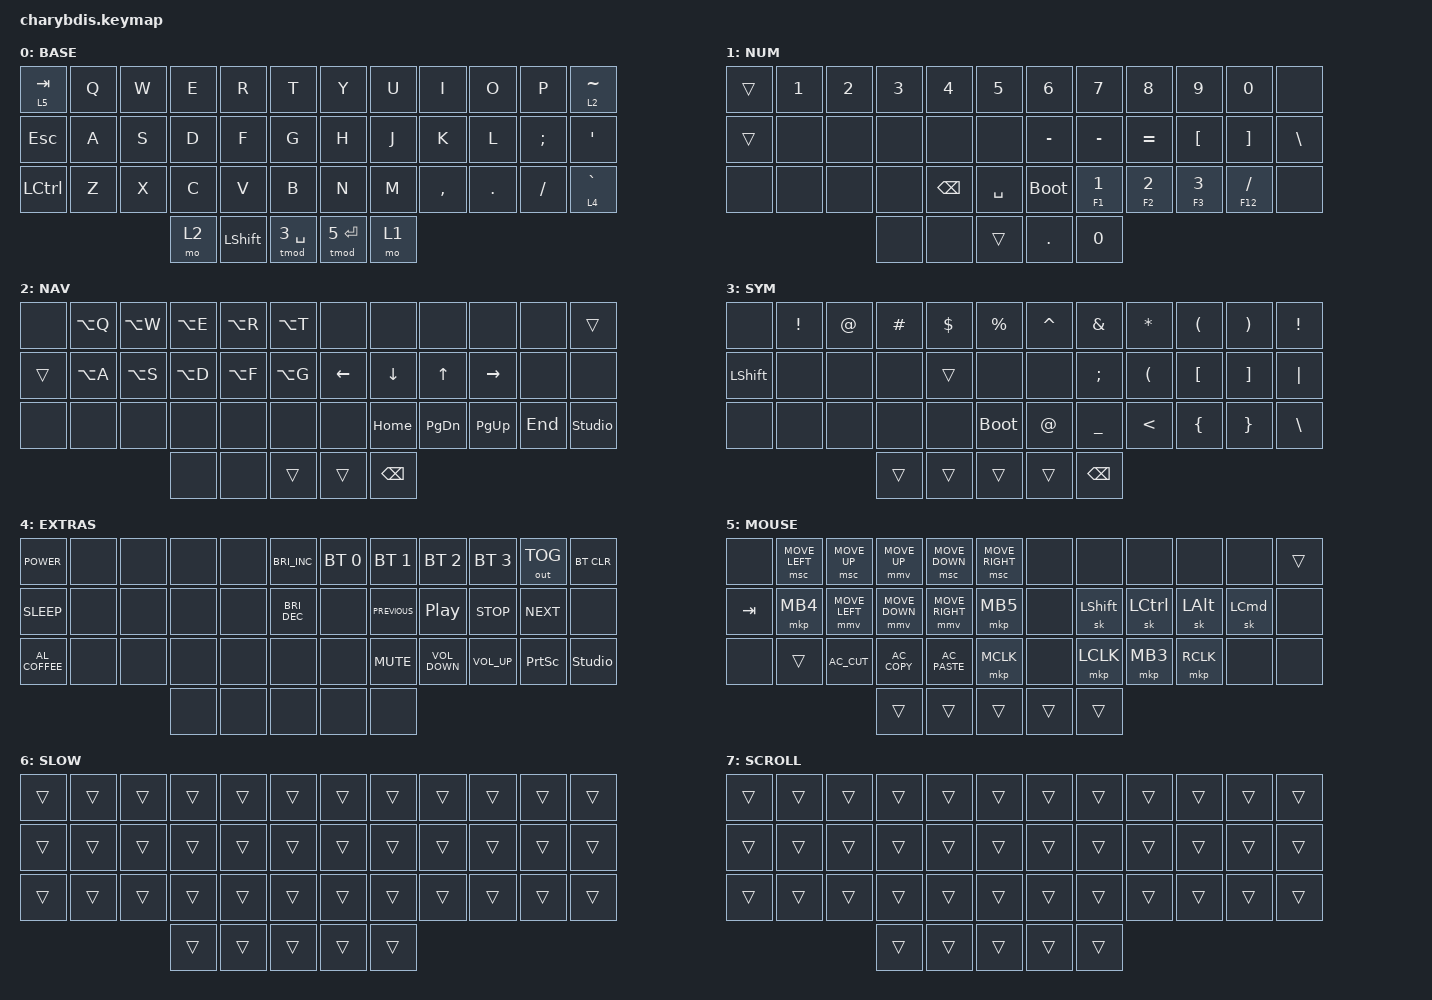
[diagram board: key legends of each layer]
#include <behaviors.dtsi>
#include <dt-bindings/zmk/bt.h>
#include <dt-bindings/zmk/keys.h>
#include <dt-bindings/zmk/mouse.h>
#include <dt-bindings/zmk/outputs.h>
#include <behaviors/mouse_keys.dtsi>
#include <dt-bindings/zmk/ext_power.h>
#include "macros.dtsi"
#include "behaviors.dtsi"
#include "combos.dtsi"

/ {
    /* input config for mouse move mode */

    trackball_listener {
        compatible = "zmk,input-behavior-listener";
        device = <&vtrackball>;
        layers = <0 2 5>;
        evt-type = <INPUT_EV_REL>;
        x-input-code = <INPUT_REL_X>;
        y-input-code = <INPUT_REL_Y>;
        scale-multiplier = <4>;
        scale-divisor = <5>;

        // bindings = <&ib_toggle_layer 7>;
    };

    /* input config for snipe mode */

    trackball_snipe_listener {
        compatible = "zmk,input-behavior-listener";
        device = <&vtrackball>;
        layers = <6>;
        evt-type = <INPUT_EV_REL>;
        x-input-code = <INPUT_REL_X>;
        y-input-code = <INPUT_REL_Y>;
        scale-multiplier = <1>;
        scale-divisor = <6>;
    };

    /* input config for mouse scroll mode */

    trackball_scroll_listener {
        compatible = "zmk,input-behavior-listener";
        device = <&vtrackball>;
        layers = <7>;
        evt-type = <INPUT_EV_REL>;
        x-input-code = <INPUT_REL_MISC>;
        y-input-code = <INPUT_REL_WHEEL>;
        y-invert;
        bindings = <&ib_wheel_scaler 1 14>;
    };

    /* define a resolution down scaler only for INPUT_REL_WHEEL */

    ib_wheel_scaler: ib_wheel_scaler {
        compatible = "zmk,input-behavior-scaler";
        #binding-cells = <2>;
        evt-type = <INPUT_EV_REL>;
        input-code = <INPUT_REL_WHEEL>;
    };

    /* adjust cooldown waiting period for mouse key layer after activated */

    ib_toggle_layer: ib_toggle_layer {
        compatible = "zmk,input-behavior-tog-layer";
        #binding-cells = <1>;
        time-to-live-ms = <750>;
    };

    // ╭──────┬──────┬──────┬──────┬──────┬──────╮  ╭──────┬──────┬──────┬──────┬──────┬──────╮
    //    00     01     02     03    04      05        06     07     08     09     10     11
    // ├──────┼──────┼──────┼──────┼──────┼──────┤  ├──────┼──────┼──────┼──────┼──────┼──────┤
    //    12     13     14     15    16      17        18     19     20     21     22     23
    // ├──────┼──────┼──────┼──────┼──────┼──────┤  ├──────┼──────┼──────┼──────┼──────┼──────┤
    //    24     25     26     27    28      29        30     31     32     33     34     35
    // ╰──────┴──────┴──────┼──────┼──────┼──────┤  ├──────┼──────┼──────┴──────┴──────┴──────╯
    //                         36     37     38        39     40
    //                      ╰──────┴──────┴──────╯  ╰──────┴──────╯
    // #define BASE    0
    // #define NUM     1
    // #define NAV     2
    // #define SYM     3
    // #define GAME    4
    // #define PHOTOS  5
    // #define EXTRAS  6
    // #define MOUSE   7
    // #define SLOW    8
    // #define SCROLL  9

    combos {
        compatible = "zmk,combos";

        cmp-esc {
            bindings = <&kp ESCAPE>;
            key-positions = <13 14>;
            layers = <0>;
        };
    };

    keymap {
        compatible = "zmk,keymap";

        BASE {
            bindings = <
&lt 5 TAB   &kp Q  &kp W  &kp E       &kp R           &kp T          &kp Y           &kp U              &kp I      &kp O       &kp P          &lt 2 TILDE
&kp ESCAPE  &kp A  &kp S  &kp D       &kp F           &kp G          &kp H           &kp J              &kp K      &kp L       &kp SEMICOLON  &kp SINGLE_QUOTE
&kp LCTRL   &kp Z  &kp X  &kp C       &kp V           &kp B          &kp N           &kp M              &kp COMMA  &kp PERIOD  &kp SLASH      &lt 4 GRAVE
                          &mo 2       &kp LEFT_SHIFT  &tmod 3 SPACE  &tmod 5 RETURN  &mo 1
            >;
        };

        NUM {
            bindings = <
&trans  &kp NUMBER_1  &kp NUMBER_2  &kp NUMBER_3  &kp NUMBER_4   &kp NUMBER_5    &kp NUMBER_6  &kp NUMBER_7  &kp NUMBER_8  &kp NUMBER_9      &kp NUMBER_0       &none
&trans  &none         &none         &none         &none          &none           &kp MINUS     &kp MINUS     &kp EQUAL     &kp LEFT_BRACKET  &kp RIGHT_BRACKET  &kp BSLH
&none   &none         &none         &none         &kp BACKSPACE  &kp SPACE       &bootloader   &hm F1 N1     &hm F2 N2     &hm F3 N3         &hm F12 SLASH      &none
                                    &none         &none          &trans          &kp DOT       &kp N0
            >;
        };

        NAV {
            bindings = <
&none   &kp LA(Q)  &kp LA(W)  &kp LA(E)  &kp LA(R)  &kp LA(T)    &none           &none           &none      &none            &none            &trans
&trans  &kp LA(A)  &kp LA(S)  &kp LA(D)  &kp LA(F)  &kp LA(G)    &kp LEFT_ARROW  &kp DOWN        &kp UP     &kp RIGHT_ARROW  &none            &none
&none   &none      &none      &none      &none      &none        &none           &kp HOME        &kp PG_DN  &kp PG_UP        &kp END          &studio_unlock
                              &none      &none      &trans       &trans          &kp BACKSPACE
            >;
        };

        SYM {
            bindings = <
&none   &kp EXCLAMATION  &kp AT_SIGN  &kp HASH  &kp DOLLAR  &kp PERCENT    &kp CARET    &kp AMPERSAND   &kp ASTERISK  &kp LEFT_PARENTHESIS  &kp RIGHT_PARENTHESIS  &kp EXCL
&kp LEFT_SHIFT &none     &none        &none     &trans      &none          &none        &kp SEMICOLON   &kp LPAR      &kp LBKT              &kp RIGHT_BRACKET      &kp PIPE
&none   &none            &none        &none     &none       &bootloader    &kp AT_SIGN  &kp UNDERSCORE  &kp LT        &kp LEFT_BRACE        &kp RIGHT_BRACE        &kp BSLH
                                      &trans    &trans      &trans         &trans       &kp BACKSPACE
            >;
        };

        EXTRAS {
            bindings = <
&kp C_POWER      &none  &none  &none  &none  &kp C_BRIGHTNESS_INC    &bt BT_SEL 0  &bt BT_SEL 1    &bt BT_SEL 2       &bt BT_SEL 3     &out OUT_TOG     &bt BT_CLR
&kp C_SLEEP      &none  &none  &none  &none  &kp C_BRIGHTNESS_DEC    &none         &kp C_PREVIOUS  &kp C_PLAY_PAUSE   &kp C_STOP       &kp C_NEXT       &none
&kp C_AL_COFFEE  &none  &none  &none  &none  &none                   &none         &kp K_MUTE      &kp C_VOLUME_DOWN  &kp C_VOLUME_UP  &kp PRINTSCREEN  &studio_unlock
                               &none  &none  &none                   &none         &none
            >;
        };

        MOUSE {
            bindings = <
&none    &msc MOVE_LEFT  &msc MOVE_UP    &mmv MOVE_UP    &msc MOVE_DOWN   &msc MOVE_RIGHT    &none   &none           &none      &none         &none     &trans
&kp TAB  &mkp MB4        &mmv MOVE_LEFT  &mmv MOVE_DOWN  &mmv MOVE_RIGHT  &mkp MB5           &none   &sk LEFT_SHIFT  &sk LCTRL  &sk LEFT_ALT  &sk LCMD  &none
&none    &trans          &kp C_AC_CUT    &kp C_AC_COPY   &kp C_AC_PASTE   &mkp MCLK          &none   &mkp LCLK       &mkp MB3   &mkp RCLK     &none     &none
                                         &trans          &trans           &trans             &trans  &trans
            >;
        };

        SLOW {
            bindings = <
&trans  &trans  &trans  &trans  &trans  &trans    &trans  &trans  &trans  &trans  &trans  &trans
&trans  &trans  &trans  &trans  &trans  &trans    &trans  &trans  &trans  &trans  &trans  &trans
&trans  &trans  &trans  &trans  &trans  &trans    &trans  &trans  &trans  &trans  &trans  &trans
                        &trans  &trans  &trans    &trans  &trans
            >;
        };

        SCROLL {
            bindings = <
&trans  &trans  &trans  &trans  &trans  &trans    &trans  &trans  &trans  &trans  &trans  &trans
&trans  &trans  &trans  &trans  &trans  &trans    &trans  &trans  &trans  &trans  &trans  &trans
&trans  &trans  &trans  &trans  &trans  &trans    &trans  &trans  &trans  &trans  &trans  &trans
                        &trans  &trans  &trans    &trans  &trans
            >;
        };
    };
};
